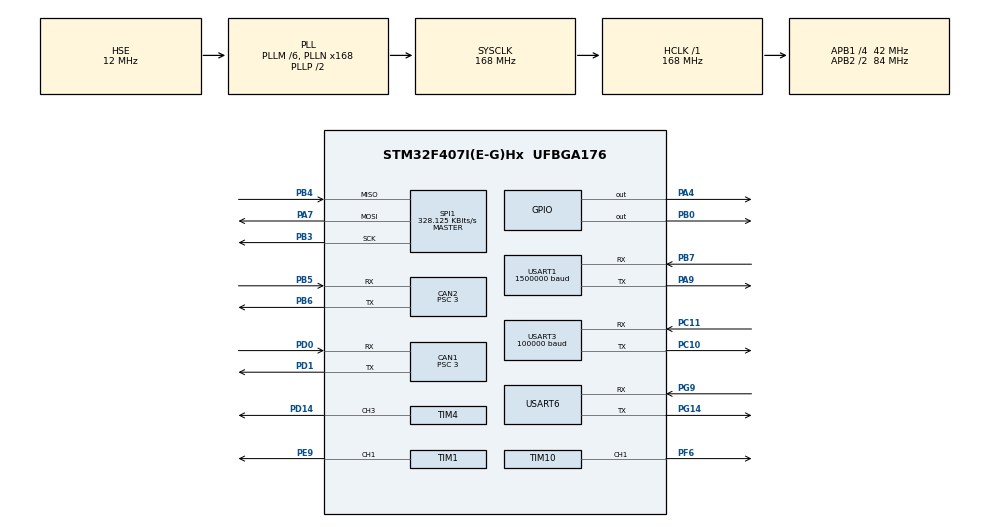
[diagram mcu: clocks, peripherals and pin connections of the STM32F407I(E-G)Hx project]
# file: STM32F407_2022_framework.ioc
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ARM.CMSIS.5.8.0.CMSISJjDSP=Source
CAN1.BS1=CAN_BS1_10TQ
CAN1.BS2=CAN_BS2_3TQ
CAN1.CalculateBaudRate=1000000
CAN1.CalculateTimeBit=1000
CAN1.CalculateTimeQuantum=71.42857142857143
CAN1.NART=ENABLE
CAN1.Prescaler=3
CAN1.SJW=CAN_SJW_1TQ
CAN1.TXFP=ENABLE
CAN2.BS1=CAN_BS1_10TQ
CAN2.BS2=CAN_BS2_3TQ
CAN2.CalculateBaudRate=1000000
CAN2.CalculateTimeBit=1000
CAN2.CalculateTimeQuantum=71.42857142857143
CAN2.NART=ENABLE
CAN2.Prescaler=3
CAN2.TXFP=ENABLE
Dma.Request0=USART1_TX
Dma.Request1=USART3_RX
Dma.Request2=USART6_RX
Dma.Request3=USART6_TX
Dma.Request4=TIM1_CH1
Dma.TIM1_CH1.4.Direction=DMA_MEMORY_TO_PERIPH
Dma.TIM1_CH1.4.FIFOMode=DMA_FIFOMODE_DISABLE
Dma.TIM1_CH1.4.Instance=DMA2_Stream3
Dma.TIM1_CH1.4.MemDataAlignment=DMA_MDATAALIGN_HALFWORD
Dma.TIM1_CH1.4.MemInc=DMA_MINC_ENABLE
Dma.TIM1_CH1.4.Mode=DMA_NORMAL
Dma.TIM1_CH1.4.PeriphDataAlignment=DMA_PDATAALIGN_HALFWORD
Dma.TIM1_CH1.4.PeriphInc=DMA_PINC_DISABLE
Dma.TIM1_CH1.4.Priority=DMA_PRIORITY_LOW
Dma.USART1_TX.0.Direction=DMA_MEMORY_TO_PERIPH
Dma.USART1_TX.0.FIFOMode=DMA_FIFOMODE_DISABLE
Dma.USART1_TX.0.Instance=DMA2_Stream7
Dma.USART1_TX.0.MemDataAlignment=DMA_MDATAALIGN_BYTE
Dma.USART1_TX.0.MemInc=DMA_MINC_ENABLE
Dma.USART1_TX.0.Mode=DMA_NORMAL
Dma.USART1_TX.0.PeriphDataAlignment=DMA_PDATAALIGN_BYTE
Dma.USART1_TX.0.PeriphInc=DMA_PINC_DISABLE
Dma.USART1_TX.0.Priority=DMA_PRIORITY_HIGH
Dma.USART3_RX.1.Direction=DMA_PERIPH_TO_MEMORY
Dma.USART3_RX.1.FIFOMode=DMA_FIFOMODE_DISABLE
Dma.USART3_RX.1.Instance=DMA1_Stream1
Dma.USART3_RX.1.MemDataAlignment=DMA_MDATAALIGN_BYTE
Dma.USART3_RX.1.MemInc=DMA_MINC_ENABLE
Dma.USART3_RX.1.Mode=DMA_NORMAL
Dma.USART3_RX.1.PeriphDataAlignment=DMA_PDATAALIGN_BYTE
Dma.USART3_RX.1.PeriphInc=DMA_PINC_DISABLE
Dma.USART3_RX.1.Priority=DMA_PRIORITY_VERY_HIGH
Dma.USART6_RX.2.Direction=DMA_PERIPH_TO_MEMORY
Dma.USART6_RX.2.FIFOMode=DMA_FIFOMODE_DISABLE
Dma.USART6_RX.2.Instance=DMA2_Stream1
Dma.USART6_RX.2.MemDataAlignment=DMA_MDATAALIGN_BYTE
Dma.USART6_RX.2.MemInc=DMA_MINC_ENABLE
Dma.USART6_RX.2.Mode=DMA_CIRCULAR
Dma.USART6_RX.2.PeriphDataAlignment=DMA_PDATAALIGN_BYTE
Dma.USART6_RX.2.PeriphInc=DMA_PINC_DISABLE
Dma.USART6_RX.2.Priority=DMA_PRIORITY_HIGH
Dma.USART6_TX.3.Direction=DMA_MEMORY_TO_PERIPH
Dma.USART6_TX.3.FIFOMode=DMA_FIFOMODE_DISABLE
Dma.USART6_TX.3.Instance=DMA2_Stream6
Dma.USART6_TX.3.MemDataAlignment=DMA_MDATAALIGN_BYTE
Dma.USART6_TX.3.MemInc=DMA_MINC_ENABLE
Dma.USART6_TX.3.Mode=DMA_CIRCULAR
Dma.USART6_TX.3.PeriphDataAlignment=DMA_PDATAALIGN_BYTE
Dma.USART6_TX.3.PeriphInc=DMA_PINC_DISABLE
Dma.USART6_TX.3.Priority=DMA_PRIORITY_HIGH
FREERTOS.Tasks01=defaultTask,24,128,StartDefaultTask,Default,NULL,Dynamic,NULL,NULL;ImuTask,40,128,StartImuTask,Default,NULL,Dynamic,NULL,NULL;LogTask,24,128,StartLogTask,Default,NULL,Dynamic,NULL,NULL;MotorTask,40,128,StartMotorTask,Default,NULL,Dynamic,NULL,NULL;MonitorTask,40,128,StartMonitorTask,Default,NULL,Dynamic,NULL,NULL;RobotCMDTask,24,128,StartRobotCMDTask,Default,NULL,Dynamic,NULL,NULL;SuperCapTask,8,128,StartCapTask,Default,NULL,Dynamic,NULL,NULL
FREERTOS.configENABLE_FPU=0
Mcu.Family=STM32F4
Mcu.Name=STM32F407I(E-G)Hx
Mcu.Package=UFBGA176
NVIC.CAN1_RX0_IRQn=true\:5\:0\:false\:false\:true\:true\:true\:true\:true
NVIC.CAN1_RX1_IRQn=true\:5\:0\:false\:false\:true\:true\:true\:true\:true
NVIC.CAN2_RX0_IRQn=true\:5\:0\:false\:false\:true\:true\:true\:true\:true
NVIC.CAN2_RX1_IRQn=true\:5\:0\:false\:false\:true\:true\:true\:true\:true
NVIC.DMA1_Stream1_IRQn=true\:5\:0\:false\:false\:true\:true\:false\:true\:true
NVIC.DMA2_Stream1_IRQn=true\:5\:0\:false\:false\:true\:true\:false\:true\:true
NVIC.DMA2_Stream3_IRQn=true\:5\:0\:false\:false\:true\:true\:false\:true\:true
NVIC.DMA2_Stream6_IRQn=true\:5\:0\:false\:false\:true\:true\:false\:true\:true
NVIC.DMA2_Stream7_IRQn=true\:5\:0\:false\:false\:true\:true\:false\:true\:true
NVIC.PriorityGroup=NVIC_PRIORITYGROUP_4
NVIC.TIM8_TRG_COM_TIM14_IRQn=true\:15\:0\:false\:false\:true\:false\:false\:true\:true
NVIC.TimeBase=TIM8_TRG_COM_TIM14_IRQn
NVIC.TimeBaseIP=TIM14
NVIC.USART1_IRQn=true\:5\:0\:false\:false\:true\:true\:true\:true\:true
NVIC.USART3_IRQn=true\:5\:0\:false\:false\:true\:true\:true\:true\:true
NVIC.USART6_IRQn=true\:5\:0\:false\:false\:true\:true\:true\:true\:true
PA13.Mode=Serial_Wire
PA13.Signal=SYS_JTMS-SWDIO
PA14.Mode=Serial_Wire
PA14.Signal=SYS_JTCK-SWCLK
PA4.GPIO_ModeDefaultOutputPP=GPIO_MODE_OUTPUT_PP
PA4.GPIO_PuPd=GPIO_PULLUP
PA4.GPIO_Speed=GPIO_SPEED_FREQ_HIGH
PA4.PinState=GPIO_PIN_SET
PA4.Signal=GPIO_Output
PA7.Mode=Full_Duplex_Master
PA7.Signal=SPI1_MOSI
PA9.GPIO_PuPd=GPIO_PULLUP
PA9.Mode=Asynchronous
PA9.Signal=USART1_TX
PB0.GPIO_PuPd=GPIO_PULLUP
PB0.GPIO_Speed=GPIO_SPEED_FREQ_HIGH
PB0.PinState=GPIO_PIN_SET
PB0.Signal=GPIO_Output
PB3.Mode=Full_Duplex_Master
PB3.Signal=SPI1_SCK
PB4.Mode=Full_Duplex_Master
PB4.Signal=SPI1_MISO
PB5.Mode=CAN_Activate
PB5.Signal=CAN2_RX
PB6.Mode=CAN_Activate
PB6.Signal=CAN2_TX
PB7.GPIO_PuPd=GPIO_PULLUP
PB7.Mode=Asynchronous
PB7.Signal=USART1_RX
PC10.Mode=Asynchronous
PC10.Signal=USART3_TX
PC11.GPIO_PuPd=GPIO_NOPULL
PC11.Mode=Asynchronous
PC11.Signal=USART3_RX
PD0.Mode=CAN_Activate
PD0.Signal=CAN1_RX
PD1.Mode=CAN_Activate
PD1.Signal=CAN1_TX
PD14.Signal=S_TIM4_CH3
PE9.Signal=S_TIM1_CH1
PF6.Signal=S_TIM10_CH1
PG14.Mode=Asynchronous
PG14.Signal=USART6_TX
PG9.Mode=Asynchronous
PG9.Signal=USART6_RX
PH0-OSC_IN.Mode=HSE-External-Oscillator
PH0-OSC_IN.Signal=RCC_OSC_IN
PH1-OSC_OUT.Mode=HSE-External-Oscillator
PH1-OSC_OUT.Signal=RCC_OSC_OUT
ProjectManager.HeapSize=0x4000
ProjectManager.StackSize=0x4000
ProjectManager.TargetToolchain=Makefile
RCC.48MHZClocksFreq_Value=48000000
RCC.AHBFreq_Value=168000000
RCC.APB1CLKDivider=RCC_HCLK_DIV4
RCC.APB1Freq_Value=42000000
RCC.APB1TimFreq_Value=84000000
RCC.APB2CLKDivider=RCC_HCLK_DIV2
RCC.APB2Freq_Value=84000000
RCC.APB2TimFreq_Value=168000000
RCC.CortexFreq_Value=168000000
RCC.HCLKFreq_Value=168000000
RCC.HSE_VALUE=12000000
RCC.HSI_VALUE=16000000
RCC.LSE_VALUE=32768
RCC.PLLM=6
RCC.PLLN=168
RCC.PLLQ=7
RCC.PLLSourceVirtual=RCC_PLLSOURCE_HSE
RCC.SYSCLKFreq_VALUE=168000000
RCC.SYSCLKSource=RCC_SYSCLKSOURCE_PLLCLK
RCC.VCOOutputFreq_Value=336000000
SH.S_TIM10_CH1.0=TIM10_CH1,PWM Generation1 CH1
SH.S_TIM1_CH1.0=TIM1_CH1,PWM Generation1 CH1
SH.S_TIM4_CH3.0=TIM4_CH3,PWM Generation3 CH3
SPI1.BaudRatePrescaler=SPI_BAUDRATEPRESCALER_256
SPI1.CLKPhase=SPI_PHASE_2EDGE
SPI1.CLKPolarity=SPI_POLARITY_HIGH
SPI1.CalculateBaudRate=328.125 KBits/s
SPI1.Direction=SPI_DIRECTION_2LINES
SPI1.Mode=SPI_MODE_MASTER
SPI1.VirtualType=VM_MASTER
TIM1.Channel-PWM\ Generation1\ CH1=TIM_CHANNEL_1
TIM1.Period=210
TIM10.AutoReloadPreload=TIM_AUTORELOAD_PRELOAD_ENABLE
TIM10.Channel=TIM_CHANNEL_1
TIM10.OC1Preload_PWM=ENABLE
TIM10.OCPolarity_1=TIM_OCPOLARITY_HIGH
TIM10.Period=1000-1
TIM10.Prescaler=168-1
TIM13.Prescaler=84-1
TIM4.Channel-PWM\ Generation3\ CH3=TIM_CHANNEL_3
TIM4.Prescaler=84-1
USART1.BaudRate=1500000
USART1.VirtualMode=VM_ASYNC
USART3.BaudRate=100000
USART3.Parity=PARITY_EVEN
USART3.StopBits=STOPBITS_1
USART3.VirtualMode=VM_ASYNC
USART3.WordLength=WORDLENGTH_9B
USART6.VirtualMode=VM_ASYNC
VP_ARM.CMSIS_VS_CMSISJjDSP_1.9.0-dev_5.8.0.Mode=CMSISJjDSP
VP_CRC_VS_CRC.Mode=CRC_Activate
VP_FREERTOS_VS_CMSIS_V2.Mode=CMSIS_V2
VP_RNG_VS_RNG.Mode=RNG_Activate
VP_SYS_VS_tim14.Mode=TIM14
VP_TIM10_VS_ClockSourceINT.Mode=Enable_Timer
VP_TIM13_VS_ClockSourceINT.Mode=Enable_Timer
VP_TIM1_VS_ClockSourceINT.Mode=Internal
board=custom

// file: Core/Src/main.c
/* USER CODE BEGIN Header */
/**
  ******************************************************************************
  * @file           : main.c
  * @brief          : Main program body
  ******************************************************************************
  * @attention
  *
  * <h2><center>&copy; Copyright (c) 2021 STMicroelectronics.
  * All rights reserved.</center></h2>
  *
  * This software component is licensed by ST under Ultimate Liberty license
  * SLA0044, the "License"; You may not use this file except in compliance with
  * the License. You may obtain a copy of the License at:
  *                             www.st.com/SLA0044
  *
  ******************************************************************************
  */
/* USER CODE END Header */
#include "main.h"
#include "cmsis_os.h"
#include "can.h"
#include "crc.h"
#include "dma.h"
#include "rng.h"
#include "spi.h"
#include "tim.h"
#include "usart.h"
#include "gpio.h"

/* USER CODE BEGIN Includes */
#include "stdio.h"
// #include "app.h"
// #include "hal.h"
#include "warpper.h"
extern DMA_HandleTypeDef hdma_usart1_tx;
extern DMA_HandleTypeDef hdma_usart3_rx;
/* USER CODE END Includes */

/* USER CODE BEGIN PV */
// int _write(int fd, char *ch, int len)
// {
//   HAL_UART_Transmit_DMA(&huart1, (uint8_t *)ch, len);
//   return len;
// }
/* USER CODE END PV */

void SystemClock_Config(void);
void MX_FREERTOS_Init(void);

int main(void)
{

  /* MCU Configuration--------------------------------------------------------*/

  /* Reset of all peripherals, Initializes the Flash interface and the Systick. */
  HAL_Init();

  /* Configure the system clock */
  SystemClock_Config();

  /* Initialize all configured peripherals */
  MX_GPIO_Init();
  MX_CAN1_Init();
  MX_CAN2_Init();
  MX_CRC_Init();
  MX_SPI1_Init();
  MX_TIM10_Init();
  MX_TIM13_Init();
  MX_USART1_UART_Init();
  MX_USART3_UART_Init();
  MX_USART6_UART_Init();
  MX_DMA_Init();
  MX_TIM4_Init();
  MX_RNG_Init();
  MX_TIM1_Init();
  /* USER CODE BEGIN 2 */
  main_init();

  /* USER CODE END 2 */

  /* Init scheduler */
  osKernelInitialize();  /* Call init function for freertos objects (in freertos.c) */
  MX_FREERTOS_Init();

  /* Start scheduler */
  osKernelStart();

  /* We should never get here as control is now taken by the scheduler */
  /* Infinite loop */
  while (1)
  {

  }
}

void SystemClock_Config(void)
{
  RCC_OscInitTypeDef RCC_OscInitStruct = {0};
  RCC_ClkInitTypeDef RCC_ClkInitStruct = {0};

  /** Configure the main internal regulator output voltage
  */
  __HAL_RCC_PWR_CLK_ENABLE();
  __HAL_PWR_VOLTAGESCALING_CONFIG(PWR_REGULATOR_VOLTAGE_SCALE1);

  /** Initializes the RCC Oscillators according to the specified parameters
  * in the RCC_OscInitTypeDef structure.
  */
  RCC_OscInitStruct.OscillatorType = RCC_OSCILLATORTYPE_HSE;
  RCC_OscInitStruct.HSEState = RCC_HSE_ON;
  RCC_OscInitStruct.PLL.PLLState = RCC_PLL_ON;
  RCC_OscInitStruct.PLL.PLLSource = RCC_PLLSOURCE_HSE;
  RCC_OscInitStruct.PLL.PLLM = 6;
  RCC_OscInitStruct.PLL.PLLN = 168;
  RCC_OscInitStruct.PLL.PLLP = RCC_PLLP_DIV2;
  RCC_OscInitStruct.PLL.PLLQ = 7;
  if (HAL_RCC_OscConfig(&RCC_OscInitStruct) != HAL_OK)
  {
    Error_Handler();
  }

  /** Initializes the CPU, AHB and APB buses clocks
  */
  RCC_ClkInitStruct.ClockType = RCC_CLOCKTYPE_HCLK|RCC_CLOCKTYPE_SYSCLK
                              |RCC_CLOCKTYPE_PCLK1|RCC_CLOCKTYPE_PCLK2;
  RCC_ClkInitStruct.SYSCLKSource = RCC_SYSCLKSOURCE_PLLCLK;
  RCC_ClkInitStruct.AHBCLKDivider = RCC_SYSCLK_DIV1;
  RCC_ClkInitStruct.APB1CLKDivider = RCC_HCLK_DIV4;
  RCC_ClkInitStruct.APB2CLKDivider = RCC_HCLK_DIV2;

  if (HAL_RCC_ClockConfig(&RCC_ClkInitStruct, FLASH_LATENCY_5) != HAL_OK)
  {
    Error_Handler();
  }
}

void HAL_TIM_PeriodElapsedCallback(TIM_HandleTypeDef *htim)
{
  if (htim->Instance == TIM14) {
    HAL_IncTick();
  }
}

void Error_Handler(void)
{
  __disable_irq();
  while (1)
  {
  }
}

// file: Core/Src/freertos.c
/* USER CODE BEGIN Header */
/**
 ******************************************************************************
 * File Name          : freertos.c
 * Description        : Code for freertos applications
 ******************************************************************************
 * @attention
 *
 * <h2><center>&copy; Copyright (c) 2021 STMicroelectronics.
 * All rights reserved.</center></h2>
 *
 * This software component is licensed by ST under Ultimate Liberty license
 * SLA0044, the "License"; You may not use this file except in compliance with
 * the License. You may obtain a copy of the License at:
 *                             www.st.com/SLA0044
 *
 ******************************************************************************
 */
/* USER CODE END Header */

#include "FreeRTOS.h"
#include "task.h"
#include "main.h"
#include "cmsis_os.h"

/* USER CODE BEGIN Includes */
#include "warpper.h"
/* USER CODE END Includes */

/* Definitions for defaultTask */
osThreadId_t defaultTaskHandle;
const osThreadAttr_t defaultTask_attributes = {
  .name = "defaultTask",
  .stack_size = 128 * 4,
  .priority = (osPriority_t) osPriorityNormal,
};
/* Definitions for ImuTask */
osThreadId_t ImuTaskHandle;
const osThreadAttr_t ImuTask_attributes = {
  .name = "ImuTask",
  .stack_size = 128 * 4,
  .priority = (osPriority_t) osPriorityHigh,
};
/* Definitions for LogTask */
osThreadId_t LogTaskHandle;
const osThreadAttr_t LogTask_attributes = {
  .name = "LogTask",
  .stack_size = 128 * 4,
  .priority = (osPriority_t) osPriorityNormal,
};
/* Definitions for MotorTask */
osThreadId_t MotorTaskHandle;
const osThreadAttr_t MotorTask_attributes = {
  .name = "MotorTask",
  .stack_size = 128 * 4,
  .priority = (osPriority_t) osPriorityHigh,
};
/* Definitions for MonitorTask */
osThreadId_t MonitorTaskHandle;
const osThreadAttr_t MonitorTask_attributes = {
  .name = "MonitorTask",
  .stack_size = 128 * 4,
  .priority = (osPriority_t) osPriorityHigh,
};
/* Definitions for RobotCMDTask */
osThreadId_t RobotCMDTaskHandle;
const osThreadAttr_t RobotCMDTask_attributes = {
  .name = "RobotCMDTask",
  .stack_size = 128 * 4,
  .priority = (osPriority_t) osPriorityNormal,
};
/* Definitions for SuperCapTask */
osThreadId_t SuperCapTaskHandle;
const osThreadAttr_t SuperCapTask_attributes = {
  .name = "SuperCapTask",
  .stack_size = 128 * 4,
  .priority = (osPriority_t) osPriorityLow,
};

void StartDefaultTask(void *argument);
void StartImuTask(void *argument);
void StartLogTask(void *argument);
void StartMotorTask(void *argument);
void StartMonitorTask(void *argument);
void StartRobotCMDTask(void *argument);
void StartCapTask(void *argument);

void MX_FREERTOS_Init(void); /* (MISRA C 2004 rule 8.1) */

void MX_FREERTOS_Init(void) {

  /* Create the thread(s) */
  /* creation of defaultTask */
  defaultTaskHandle = osThreadNew(StartDefaultTask, NULL, &defaultTask_attributes);

  /* creation of ImuTask */
  ImuTaskHandle = osThreadNew(StartImuTask, NULL, &ImuTask_attributes);

  /* creation of LogTask */
  LogTaskHandle = osThreadNew(StartLogTask, NULL, &LogTask_attributes);

  /* creation of MotorTask */
  MotorTaskHandle = osThreadNew(StartMotorTask, NULL, &MotorTask_attributes);

  /* creation of MonitorTask */
  MonitorTaskHandle = osThreadNew(StartMonitorTask, NULL, &MonitorTask_attributes);

  /* creation of RobotCMDTask */
  RobotCMDTaskHandle = osThreadNew(StartRobotCMDTask, NULL, &RobotCMDTask_attributes);

  /* creation of SuperCapTask */
  SuperCapTaskHandle = osThreadNew(StartCapTask, NULL, &SuperCapTask_attributes);

}

void StartDefaultTask(void *argument)
{
  /* USER CODE BEGIN StartDefaultTask */
    /* Infinite loop */
    // Buzzer_Init(&internal_buzzer,music2,14);
    portTickType currentTimeDefault;
    currentTimeDefault = xTaskGetTickCount();
    for (;;) {
        //buzzer
        Buzzer_Loop();
        vTaskDelayUntil(&currentTimeDefault, 100);
    }
  /* USER CODE END StartDefaultTask */
}

void StartImuTask(void *argument)
{
  /* USER CODE BEGIN StartImuTask */
    /* Infinite loop */
    portTickType currentTimeImu;
    currentTimeImu = xTaskGetTickCount();
    for (;;) {
        Imu_Loop();
        vTaskDelayUntil(&currentTimeImu, 2);
    }
  /* USER CODE END StartImuTask */
}

void StartLogTask(void *argument)
{
  /* USER CODE BEGIN StartLogTask */
    portTickType currentTimeLog;
    currentTimeLog = xTaskGetTickCount();
    for (;;) {
        // APP_Log_Loop();
        vTaskDelayUntil(&currentTimeLog, 10);
    }
  /* USER CODE END StartLogTask */
}

void StartMotorTask(void *argument)
{
  /* USER CODE BEGIN StartMotorTask */
  portTickType currentTimeMotor;
  currentTimeMotor = xTaskGetTickCount();
  /* Infinite loop */
  for(;;){
    Motor_Loop();
    vTaskDelayUntil(&currentTimeMotor, 1);
  }
  /* USER CODE END StartMotorTask */
}

void StartMonitorTask(void *argument)
{
  /* USER CODE BEGIN StartMonitorTask */
  /* Infinite loop */
  portTickType currentTimeMonitor;
  currentTimeMonitor = xTaskGetTickCount();
  for(;;)
  {
    Monitor_Loop();
    vTaskDelayUntil(&currentTimeMonitor, 100);
  }
  /* USER CODE END StartMonitorTask */
}

void StartRobotCMDTask(void *argument)
{
  /* USER CODE BEGIN StartRobotCMDTask */
  /* Infinite loop */
  portTickType currentTimeRobotCMD;
  currentTimeRobotCMD = xTaskGetTickCount();
  for(;;)
  {
    APP_Loop();
    vTaskDelayUntil(&currentTimeRobotCMD, 2);
  }
  /* USER CODE END StartRobotCMDTask */
}

void StartCapTask(void *argument)
{
  /* USER CODE BEGIN StartCapTask */
  /* Infinite loop */
  portTickType currentTimeSuperCap;
  currentTimeSuperCap = xTaskGetTickCount();
  for(;;)
  {
    Supercap_wuli_Loop();
    SPI_eio_Loop();
    vTaskDelayUntil(&currentTimeSuperCap, 2);
  }
  /* USER CODE END StartCapTask */
}
